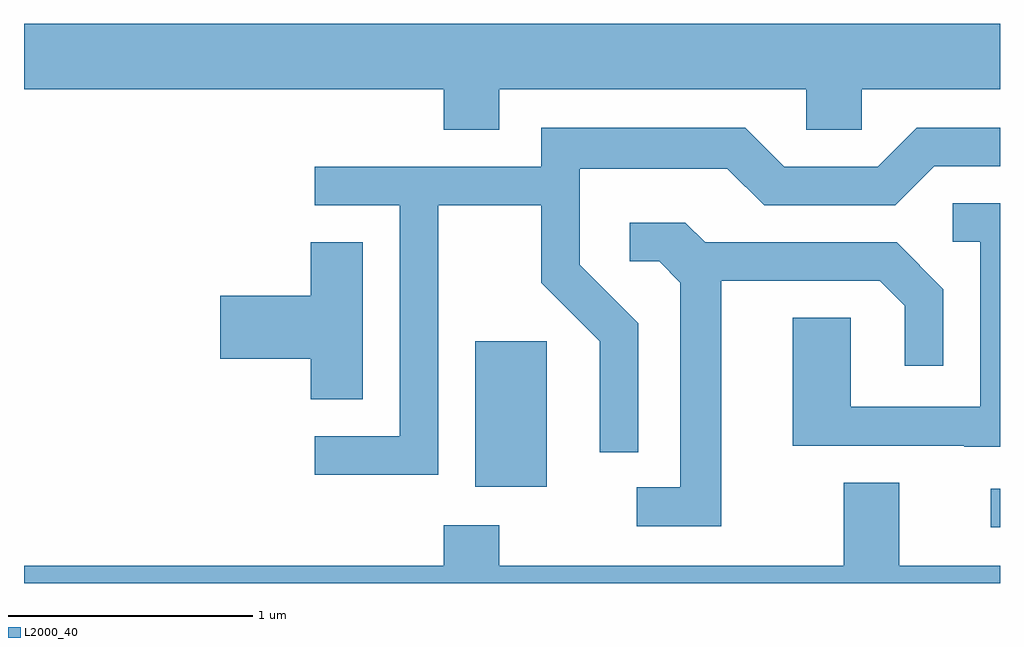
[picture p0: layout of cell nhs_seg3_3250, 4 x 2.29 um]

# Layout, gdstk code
import gdstk
lib = gdstk.Library(unit=1e-6, precision=1e-09)
def R(c, l, rs):  # rectangles x0, y0, x1, y1
    for r in rs: c.add(gdstk.rectangle(r[:2], r[2:], *l))
def P(c, l, *ps):  # polygons
    for p in ps: c.add(gdstk.Polygon(p, *l))
L2000_40 = (2000, 40)

nhs_seg3_3250 = lib.new_cell('nhs_seg3_3250')
R(nhs_seg3_3250, L2000_40, [(283.573,1224.121,283.611,1224.279), (281.461,1224.286,281.754,1224.884)])
P(nhs_seg3_3250, L2000_40, [(281.559,1225.916),(282.816,1225.916),(282.816,1225.751),(283.044,1225.751),(283.044,1225.916),(283.611,1225.916),(283.611,1226.184),(279.611,1226.184),(279.611,1225.916),(281.331,1225.916),(281.331,1225.751),(281.559,1225.751)],
  [(281.309,1225.441),(281.731,1225.441),(281.731,1225.124),(281.971,1224.884),(281.971,1224.428),(282.129,1224.428),(282.129,1224.957),(281.889,1225.197),(281.889,1225.591),(282.494,1225.591),(282.644,1225.441),(283.182,1225.441),(283.342,1225.601),(283.611,1225.601),(283.611,1225.759),(283.269,1225.759),(283.109,1225.599),(282.727,1225.599),(282.567,1225.759),(281.731,1225.759),(281.731,1225.599),(280.803,1225.599),(280.803,1225.441),(281.151,1225.441),(281.151,1224.494),(280.803,1224.494),(280.803,1224.336),(281.309,1224.336)],
  [(283.611,1225.449),(283.418,1225.449),(283.418,1225.291),(283.531,1225.291),(283.531,1224.614),(282.999,1224.614),(282.999,1224.979),(282.761,1224.979),(282.761,1224.456),(283.465,1224.456),(283.465,1224.451),(283.611,1224.451)],
  [(282.469,1225.131),(283.119,1225.131),(283.221,1225.029),(283.221,1224.783),(283.379,1224.783),(283.379,1225.097),(283.187,1225.289),(282.402,1225.289),(282.322,1225.369),(282.093,1225.369),(282.093,1225.211),(282.214,1225.211),(282.301,1225.124),(282.301,1224.284),(282.123,1224.284),(282.123,1224.126),(282.469,1224.126)],
  [(280.999,1225.289),(280.786,1225.289),(280.786,1225.069),(280.416,1225.069),(280.416,1224.811),(280.786,1224.811),(280.786,1224.646),(280.999,1224.646)],
  [(283.611,1223.964),(283.199,1223.964),(283.199,1224.304),(282.971,1224.304),(282.971,1223.964),(281.559,1223.964),(281.559,1224.129),(281.331,1224.129),(281.331,1223.964),(279.611,1223.964),(279.611,1223.892),(283.611,1223.892)])

lib.write_gds('nhs_seg3_3250.gds')
